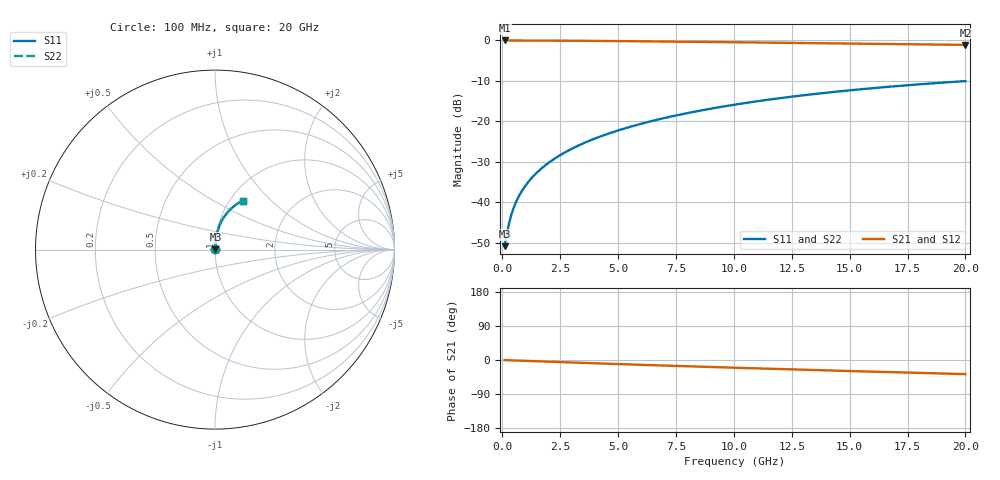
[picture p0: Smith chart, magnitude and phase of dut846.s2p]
! Touchstone file exported from HFSS 2024.1.0
!  File:  C:/UserFiles/LocalFiles/RDL_TSV_Batchsim/temp_RDL_top_846_1779855476.aedt
!  Generated:  12:20:01 PM May 27, 2026
!  Design:  RDL_top
!  Project:  temp_RDL_top_846_1779855476
!  Setup:  Setup1
!  Solution:  Sweep
! Variables:
!  dtsv = 10.80580581um
!  hbump = 3um
!  htsv = 63.18um
!  ldown = 100um
!  lrdl = 578.21um
!  p = 40
!  p1 = 40.47um
!  rhole = 1um
!  t = 450um
!  tdown = 3.915915916um
!  trdl = 4.91um
!  wdown = 15.38538539um
!  wrdl = 19.47um
# GHz S MA R 50.000000
! Terminal data exported
! Port[1] = Box2_T1
! Port[2] = Box2_T2
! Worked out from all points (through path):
!   200 points, 100 MHz to 20 GHz, reference 50 ohm
!   highest |S21| = -0.02 dB at 100 MHz (marker M1); lowest = -1.1 dB at 20 GHz (marker M2)
!   group delay of S21, straight-line fit = 5.13 ps
!   lowest |S11| = -50.9 dB at 100 MHz (marker M3), VSWR 1.01, Z = 50.2 + j0.171 ohm
!   |S11| at or under -10 dB: start of sweep to end of sweep
!   |S22| runs from -50.9 to -10.1 dB; largest |S21 - S12| = 2.6e-15
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0.1  0.002857 36.5  0.9977 -0.2  0.9977 -0.2  0.002857 36.5
! Gamma 0 0 0 0
! Port Impedance 50 0 50 0
0.2  0.004132 54.8  0.9975 -0.5  0.9975 -0.5  0.004132 54.8
0.3  0.005607 63.4  0.9974 -0.7  0.9974 -0.7  0.005607 63.4
0.4  0.007125 68.1  0.9972 -0.9  0.9972 -0.9  0.007124 68.1
0.5  0.008637 71.1  0.997 -1.1  0.997 -1.1  0.008635 71.0
0.6  0.01013 73.1  0.9969 -1.4  0.9969 -1.4  0.01013 73.1
0.8  0.01308 75.8  0.9966 -1.8  0.9966 -1.8  0.01308 75.8
1.1  0.01746 78.4  0.9961 -2.5  0.9961 -2.5  0.01745 78.4
1.5  0.02329 80.5  0.9952 -3.3  0.9952 -3.3  0.02328 80.5
1.8  0.0277 81.5  0.9944 -4.0  0.9944 -4.0  0.0277 81.5
2.1  0.03215 82.3  0.9935 -4.6  0.9935 -4.6  0.03214 82.3
2.7  0.04115 83.2  0.9914 -5.9  0.9914 -5.9  0.04114 83.2
3.5  0.05337 83.6  0.988 -7.6  0.988 -7.6  0.05337 83.6
4.2  0.06427 83.6  0.9845 -9.1  0.9845 -9.1  0.06427 83.6
5  0.07696 83.3  0.9801 -10.7  0.9801 -10.7  0.07695 83.3
6.8  0.1063 81.7  0.9692 -14.3  0.9692 -14.3  0.1063 81.7
8.4  0.133 79.7  0.9588 -17.4  0.9588 -17.4  0.133 79.7
10.1  0.1615 77.2  0.9474 -20.5  0.9474 -20.5  0.1615 77.2
11.7  0.1882 74.6  0.9366 -23.4  0.9366 -23.4  0.1882 74.6
13.4  0.2159 71.7  0.9249 -26.3  0.9249 -26.3  0.2159 71.7
16.7  0.2672 66.0  0.9022 -31.9  0.9022 -31.9  0.2671 66.0
20  0.3139 60.4  0.8796 -37.3  0.8796 -37.3  0.3138 60.4
